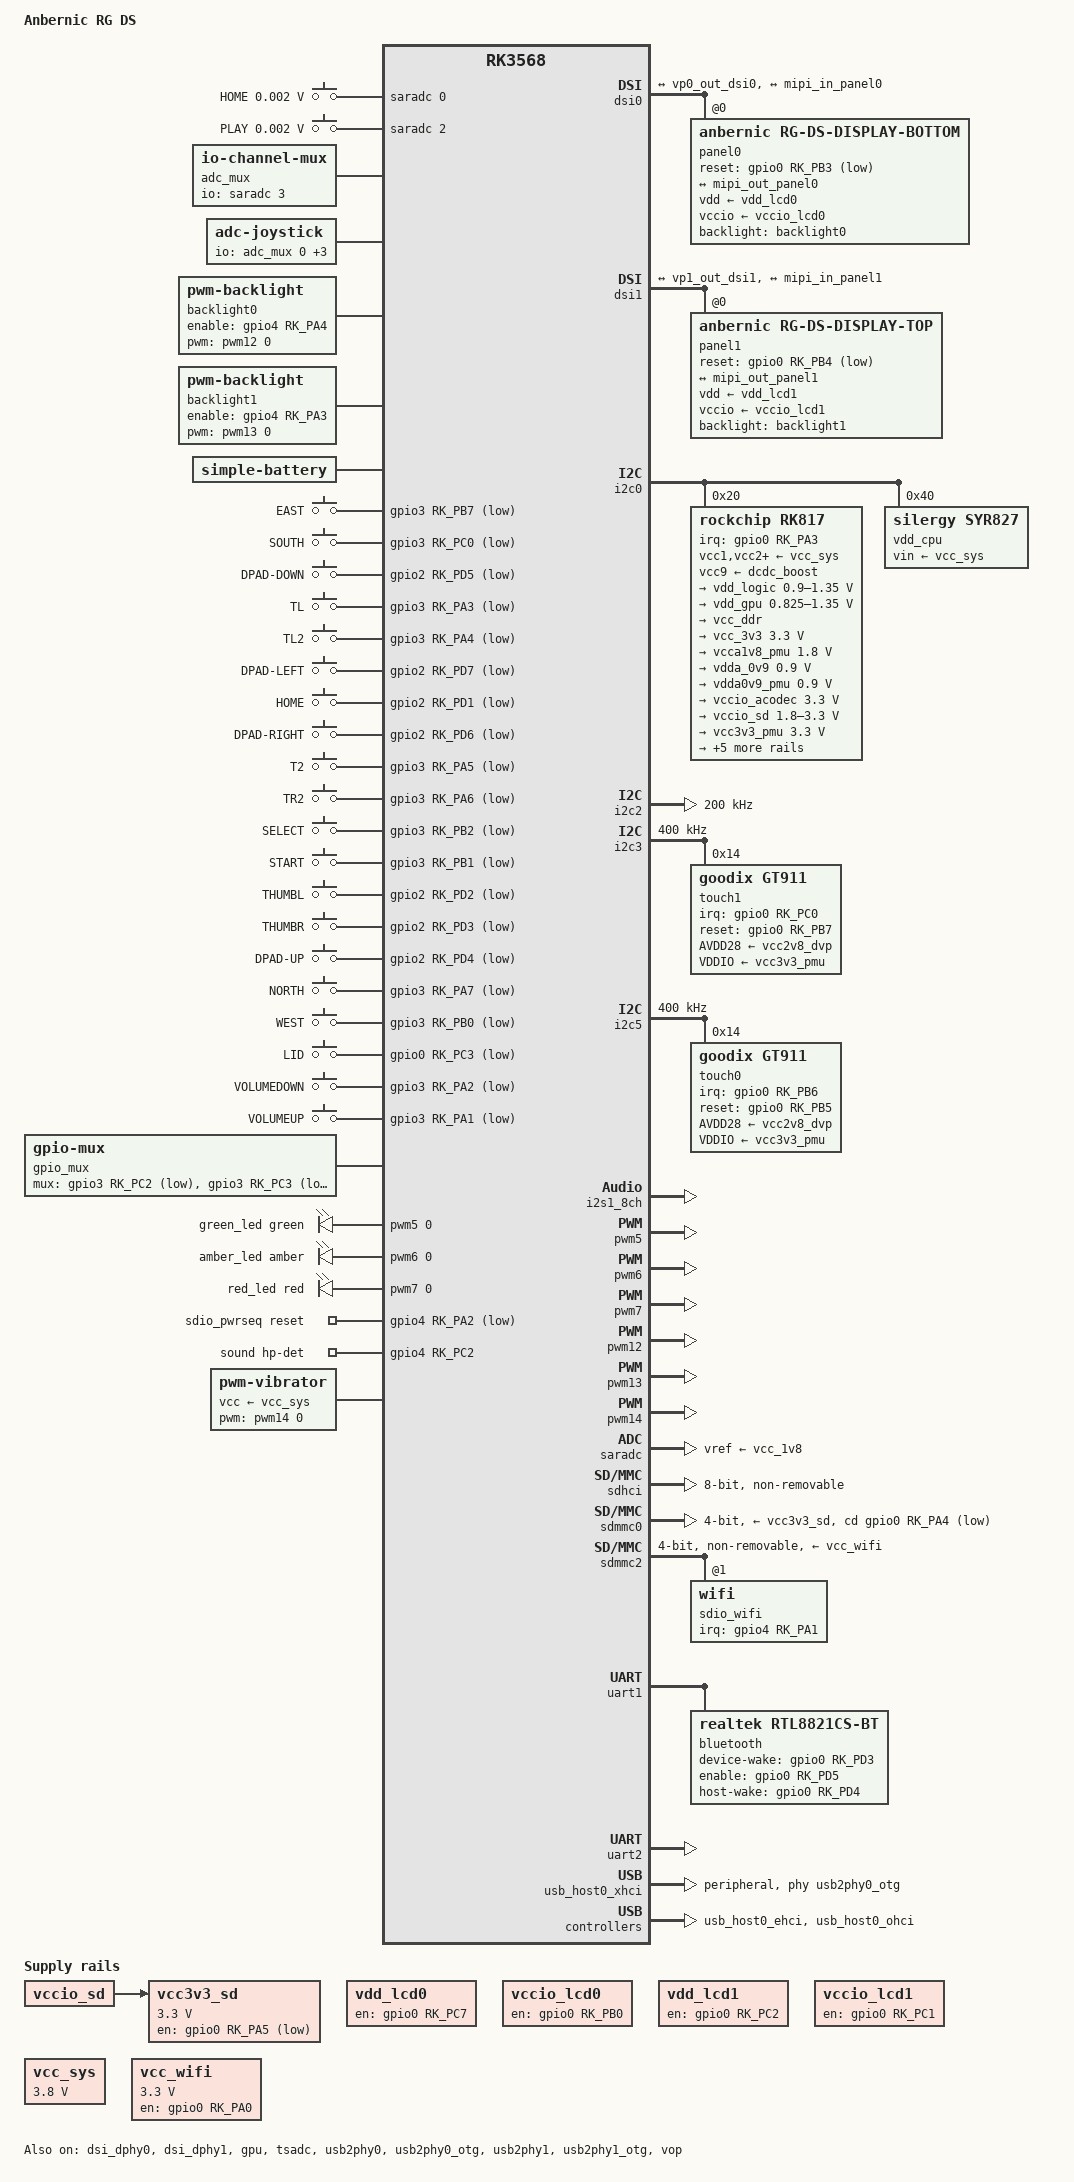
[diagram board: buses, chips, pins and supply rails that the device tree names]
// SPDX-License-Identifier: (GPL-2.0+ OR MIT)

/dts-v1/;

#include <dt-bindings/gpio/gpio.h>
#include <dt-bindings/input/gpio-keys.h>
#include <dt-bindings/input/linux-event-codes.h>
#include <dt-bindings/leds/common.h>
#include <dt-bindings/pinctrl/rockchip.h>
#include <dt-bindings/soc/rockchip,vop2.h>
#include "rk3568.dtsi"

/ {
	model = "Anbernic RG DS";
	chassis-type = "handset";
	compatible = "anbernic,rg-ds", "rockchip,rk3568";

	aliases {
		mmc0 = &sdhci;
		mmc1 = &sdmmc0;
		mmc2 = &sdmmc2;
	};

	chosen: chosen {
		stdout-path = "serial2:1500000n8";
	};

	adc_keys_home: adc-keys-home {
		compatible = "adc-keys";
		io-channel-names = "buttons";
		io-channels = <&saradc 0>;
		keyup-threshold-microvolt = <1800000>;
		poll-interval = <60>;

		button-home {
			label = "HOME";
			linux,code = <BTN_MODE>;
			press-threshold-microvolt = <1750>;
		};
	};

	adc_keys_play: adc-keys-play {
		compatible = "adc-keys";
		io-channel-names = "buttons";
		io-channels = <&saradc 2>;
		keyup-threshold-microvolt = <1300000>;
		poll-interval = <60>;

		button-play {
			label = "PLAY";
			linux,code = <KEY_PLAYPAUSE>;
			press-threshold-microvolt = <1750>;
		};
	};

	adc_mux: adc-mux {
		compatible = "io-channel-mux";
		channels = "left_x", "right_x", "left_y", "right_y";
		#io-channel-cells = <1>;
		io-channels = <&saradc 3>;
		io-channel-names = "parent";
		mux-controls = <&gpio_mux>;
		settle-time-us = <100>;
	};

	adc-joystick {
		compatible = "adc-joystick";
		#address-cells = <1>;
		io-channels = <&adc_mux 0>,
			      <&adc_mux 1>,
			      <&adc_mux 2>,
			      <&adc_mux 3>;
		pinctrl-0 = <&joy_mux_en>;
		pinctrl-names = "default";
		poll-interval = <60>;
		#size-cells = <0>;

		axis@0 {
			reg = <0>;
			abs-flat = <32>;
			abs-fuzz = <32>;
			abs-range = <1023 15>;
			linux,code = <ABS_X>;
		};

		axis@1 {
			reg = <1>;
			abs-flat = <32>;
			abs-fuzz = <32>;
			abs-range = <15 1023>;
			linux,code = <ABS_RY>;
		};

		axis@2 {
			reg = <2>;
			abs-flat = <32>;
			abs-fuzz = <32>;
			abs-range = <15 1023>;
			linux,code = <ABS_Y>;
		};

		axis@3 {
			reg = <3>;
			abs-flat = <32>;
			abs-fuzz = <32>;
			abs-range = <15 1023>;
			linux,code = <ABS_RX>;
		};
	};

	backlight0: backlight0 {
		compatible = "pwm-backlight";
		enable-gpios = <&gpio4 RK_PA4 GPIO_ACTIVE_HIGH>;
		pwms = <&pwm12 0 25000 0>;
	};

	backlight1: backlight1 {
		compatible = "pwm-backlight";
		enable-gpios = <&gpio4 RK_PA3 GPIO_ACTIVE_HIGH>;
		pwms = <&pwm13 0 25000 0>;
	};

	/*
	 * Values taken from BSP device-tree except for
	 * "charge-full-design-microamp-hours" which was set
	 * incorrectly at 2500000 (based on markings on the battery it
	 * should be 4000000), "factory-internal-resistance-micro-ohms"
	 * which was set at 8 but based on context should likely be 80000.
	 *
	 * "constant-charge-current-max-microamp" is set at 10 AMPs
	 * which is likely incorrect but I cannot validate; furthermore
	 * the onboard charger of the rk817 cannot charge past 3.5A
	 * anyway.
	 */
	battery: battery {
		compatible = "simple-battery";
		charge-full-design-microamp-hours = <4000000>;
		charge-term-current-microamp = <300000>;
		constant-charge-current-max-microamp = <10000000>;
		constant-charge-voltage-max-microvolt = <4350000>;
		factory-internal-resistance-micro-ohms = <80000>;
		precharge-current-microamp = <180000>;
		precharge-upper-limit-microvolt = <3600000>;
		voltage-max-design-microvolt = <4350000>;
		voltage-min-design-microvolt = <3000000>;

		/*
		 * BSP device-tree missing value for 5 percent, so I
		 * picked a value between 10 and 0.
		 */
		ocv-capacity-celsius = <20>;
		ocv-capacity-table-0 =  <4338000 100>, <4251000 95>,
					<4191000 90>, <4136000 85>,
					<4083000 80>, <4039000 75>,
					<3978000 70>, <3947000 65>,
					<3908000 60>, <3861000 55>,
					<3826000 50>, <3786000 45>,
					<3772000 40>, <3761000 35>,
					<3749000 30>, <3731000 25>,
					<3707000 20>, <3677000 15>,
					<3663000 10>, <3446000 5>,
					<3400000 0>;
	};

	gpio_keys_control: gpio-keys-control {
		compatible = "gpio-keys";
		pinctrl-0 = <&gamepad_keys_l>;
		pinctrl-names = "default";

		button-a {
			gpios = <&gpio3 RK_PB7 GPIO_ACTIVE_LOW>;
			label = "EAST";
			linux,code = <BTN_EAST>;
		};

		button-b {
			gpios = <&gpio3 RK_PC0 GPIO_ACTIVE_LOW>;
			label = "SOUTH";
			linux,code = <BTN_SOUTH>;
		};

		button-down {
			gpios = <&gpio2 RK_PD5 GPIO_ACTIVE_LOW>;
			label = "DPAD-DOWN";
			linux,code = <BTN_DPAD_DOWN>;
		};

		button-l1 {
			gpios = <&gpio3 RK_PA3 GPIO_ACTIVE_LOW>;
			label = "TL";
			linux,code = <BTN_TL>;
		};

		button-l2 {
			gpios = <&gpio3 RK_PA4 GPIO_ACTIVE_LOW>;
			label = "TL2";
			linux,code = <BTN_TL2>;
		};

		button-left {
			gpios = <&gpio2 RK_PD7 GPIO_ACTIVE_LOW>;
			label = "DPAD-LEFT";
			linux,code = <BTN_DPAD_LEFT>;
		};

		button-menu {
			gpios = <&gpio2 RK_PD1 GPIO_ACTIVE_LOW>;
			label = "HOME";
			linux,code = <KEY_HOME>;
		};

		button-right {
			gpios = <&gpio2 RK_PD6 GPIO_ACTIVE_LOW>;
			label = "DPAD-RIGHT";
			linux,code = <BTN_DPAD_RIGHT>;
		};

		button-r1 {
			gpios = <&gpio3 RK_PA5 GPIO_ACTIVE_LOW>;
			label = "T2";
			linux,code = <BTN_TR>;
		};

		button-r2 {
			gpios = <&gpio3 RK_PA6 GPIO_ACTIVE_LOW>;
			label = "TR2";
			linux,code = <BTN_TR2>;
		};

		button-select {
			gpios = <&gpio3 RK_PB2 GPIO_ACTIVE_LOW>;
			label = "SELECT";
			linux,code = <BTN_SELECT>;
		};

		button-start {
			gpios = <&gpio3 RK_PB1 GPIO_ACTIVE_LOW>;
			label = "START";
			linux,code = <BTN_START>;
		};

		button-thumbl {
			gpios = <&gpio2 RK_PD2 GPIO_ACTIVE_LOW>;
			label = "THUMBL";
			linux,code = <BTN_THUMBL>;
		};

		button-thumbr {
			gpios = <&gpio2 RK_PD3 GPIO_ACTIVE_LOW>;
			label = "THUMBR";
			linux,code = <BTN_THUMBR>;
		};

		button-up {
			gpios = <&gpio2 RK_PD4 GPIO_ACTIVE_LOW>;
			label = "DPAD-UP";
			linux,code = <BTN_DPAD_UP>;
		};

		button-x {
			gpios = <&gpio3 RK_PA7 GPIO_ACTIVE_LOW>;
			label = "NORTH";
			linux,code = <BTN_NORTH>;
		};

		button-y {
			gpios = <&gpio3 RK_PB0 GPIO_ACTIVE_LOW>;
			label = "WEST";
			linux,code = <BTN_WEST>;
		};
	};

	gpio_keys_hall: gpio-keys-hall {
		compatible = "gpio-keys";
		pinctrl-0 = <&hall_int_l>;
		pinctrl-names = "default";

		lid-switch {
			gpios = <&gpio0 RK_PC3 GPIO_ACTIVE_LOW>;
			label = "LID";
			linux,code = <SW_LID>;
			linux,input-type = <EV_SW>;
			wakeup-event-action = <EV_ACT_DEASSERTED>;
			wakeup-source;
		};
	};

	gpio_keys_volume: gpio-keys-volume {
		compatible = "gpio-keys";
		autorepeat;
		pinctrl-0 = <&vol_keys_l>;
		pinctrl-names = "default";

		vol-down-key {
			gpios = <&gpio3 RK_PA2 GPIO_ACTIVE_LOW>;
			label = "VOLUMEDOWN";
			linux,code = <KEY_VOLUMEDOWN>;
		};

		vol-up-key {
			gpios = <&gpio3 RK_PA1 GPIO_ACTIVE_LOW>;
			label = "VOLUMEUP";
			linux,code = <KEY_VOLUMEUP>;
		};
	};

	gpio_mux: mux-controller {
		compatible = "gpio-mux";
		#mux-control-cells = <0>;
		mux-gpios = <&gpio3 RK_PC2 GPIO_ACTIVE_LOW>,
			    <&gpio3 RK_PC3 GPIO_ACTIVE_LOW>;
		pinctrl-0 = <&joy_mux_config>;
		pinctrl-names = "default";
	};

	leds: pwm-leds {
		compatible = "pwm-leds";

		green_led: led-0 {
			color = <LED_COLOR_ID_GREEN>;
			default-state = "on";
			function = LED_FUNCTION_POWER;
			max-brightness = <255>;
			pwms = <&pwm5 0 25000 0>;
		};

		amber_led: led-1 {
			color = <LED_COLOR_ID_AMBER>;
			function = LED_FUNCTION_CHARGING;
			max-brightness = <255>;
			pwms = <&pwm6 0 25000 0>;
		};

		red_led: led-2 {
			color = <LED_COLOR_ID_RED>;
			default-state = "off";
			function = LED_FUNCTION_STATUS;
			max-brightness = <255>;
			pwms = <&pwm7 0 25000 0>;
		};
	};

	sdio_pwrseq: sdio-pwrseq {
		compatible = "mmc-pwrseq-simple";
		clock-names = "ext_clock";
		clocks = <&rk817 1>;
		pinctrl-0 = <&wifi_enable_h>;
		pinctrl-names = "default";
		post-power-on-delay-ms = <200>;
		reset-gpios = <&gpio4 RK_PA2 GPIO_ACTIVE_LOW>;
	};

	sound {
		compatible = "simple-audio-card";
		pinctrl-0 = <&hp_det>;
		pinctrl-names = "default";
		simple-audio-card,format = "i2s";
		simple-audio-card,hp-det-gpios = <&gpio4 RK_PC2 GPIO_ACTIVE_HIGH>;
		simple-audio-card,mclk-fs = <256>;
		simple-audio-card,name = "rk817_ext";
		simple-audio-card,pin-switches = "Internal Speakers";
		simple-audio-card,routing =
			"MICL", "Mic Jack",
			"Headphones", "HPOL",
			"Headphones", "HPOR",
			"Internal Speakers", "HPOL",
			"Internal Speakers", "HPOR";
		simple-audio-card,widgets =
			"Microphone", "Mic Jack",
			"Headphone", "Headphones",
			"Speaker", "Internal Speakers";

		simple-audio-card,codec {
			sound-dai = <&rk817>;
		};

		simple-audio-card,cpu {
			sound-dai = <&i2s1_8ch>;
		};
	};

	vdd_lcd0: regulator-vdd-lcd0 {
		compatible = "regulator-fixed";
		enable-active-high;
		gpio = <&gpio0 RK_PC7 GPIO_ACTIVE_HIGH>;
		pinctrl-0 = <&vdd_lcd0_h>;
		pinctrl-names = "default";
		regulator-name = "vdd_lcd0";
		regulator-state-mem {
			regulator-off-in-suspend;
		};
	};

	vccio_lcd0: regulator-vccio-lcd0 {
		compatible = "regulator-fixed";
		enable-active-high;
		gpio = <&gpio0 RK_PB0 GPIO_ACTIVE_HIGH>;
		pinctrl-0 = <&vccio_lcd0_h>;
		pinctrl-names = "default";
		regulator-name = "vccio_lcd0";
		regulator-state-mem {
			regulator-off-in-suspend;
		};
	};

	vdd_lcd1: regulator-vdd-lcd1 {
		compatible = "regulator-fixed";
		enable-active-high;
		gpio = <&gpio0 RK_PC2 GPIO_ACTIVE_HIGH>;
		pinctrl-0 = <&vdd_lcd1_h>;
		pinctrl-names = "default";
		regulator-name = "vdd_lcd1";
		regulator-state-mem {
			regulator-off-in-suspend;
		};
	};

	vccio_lcd1: regulator-vccio-lcd1 {
		compatible = "regulator-fixed";
		enable-active-high;
		gpio = <&gpio0 RK_PC1 GPIO_ACTIVE_HIGH>;
		pinctrl-0 = <&vccio_lcd1_h>;
		pinctrl-names = "default";
		regulator-name = "vccio_lcd1";
		regulator-state-mem {
			regulator-off-in-suspend;
		};
	};

	vcc3v3_sd: regulator-vcc3v3-sd {
		compatible = "regulator-fixed";
		gpio = <&gpio0 RK_PA5 GPIO_ACTIVE_HIGH>;
		pinctrl-0 = <&sdmmc_pwren_l>;
		pinctrl-names = "default";
		regulator-always-on;
		regulator-boot-on;
		regulator-name = "vcc3v3_sd";
		regulator-min-microvolt = <3300000>;
		regulator-max-microvolt = <3300000>;
		vin-supply = <&vccio_sd>;
	};

	vcc_sys: regulator-vcc-sys {
		compatible = "regulator-fixed";
		regulator-always-on;
		regulator-boot-on;
		regulator-min-microvolt = <3800000>;
		regulator-max-microvolt = <3800000>;
		regulator-name = "vcc_sys";
	};

	vibrator: pwm-vibrator {
		compatible = "pwm-vibrator";
		pwm-names = "enable";
		pwms = <&pwm14 0 100000 0>;
		vcc-supply = <&vcc_sys>;
	};

	vcc_wifi: regulator-vcc-wifi {
		compatible = "regulator-fixed";
		enable-active-high;
		gpio = <&gpio0 RK_PA0 GPIO_ACTIVE_HIGH>;
		pinctrl-0 = <&vcc_wifi_h>;
		pinctrl-names = "default";
		regulator-always-on;
		regulator-boot-on;
		regulator-min-microvolt = <3300000>;
		regulator-max-microvolt = <3300000>;
		regulator-name = "vcc_wifi";
	};
};

&cpu0 {
	cpu-supply = <&vdd_cpu>;
};

&cpu1 {
	cpu-supply = <&vdd_cpu>;
};

&cpu2 {
	cpu-supply = <&vdd_cpu>;
};

&cpu3 {
	cpu-supply = <&vdd_cpu>;
};

&cru {
	assigned-clocks = <&pmucru CLK_RTC_32K>, <&cru PLL_GPLL>,
			  <&pmucru PLL_PPLL>, <&cru PLL_VPLL>;
	assigned-clock-rates = <32768>, <1200000000>,
			       <200000000>, <292500000>;
};

&dsi0 {
	status = "okay";
	#address-cells = <1>;
	#size-cells = <0>;

	ports {
		dsi0_in: port@0 {
			reg = <0>;
			dsi0_in_vp0: endpoint {
				remote-endpoint = <&vp0_out_dsi0>;
			};
		};

		dsi0_out: port@1 {
			reg = <1>;
			mipi_out_panel0: endpoint {
				remote-endpoint = <&mipi_in_panel0>;
			};
		};
	};

	panel0: panel@0 {
		compatible = "anbernic,rg-ds-display-bottom", "jadard,jd9365da-h3";
		reg = <0>;
		backlight = <&backlight0>;
		pinctrl-0 = <&lcd0_rst>;
		pinctrl-names = "default";
		reset-gpios = <&gpio0 RK_PB3 GPIO_ACTIVE_LOW>;
		vdd-supply = <&vdd_lcd0>;
		vccio-supply = <&vccio_lcd0>;

		port {
			mipi_in_panel0: endpoint {
				remote-endpoint = <&mipi_out_panel0>;
			};
		};
	};
};

&dsi1 {
	status = "okay";
	#address-cells = <1>;
	#size-cells = <0>;

	ports {
		dsi1_in: port@0 {
			reg = <0>;
			dsi1_in_vp1: endpoint {
				remote-endpoint = <&vp1_out_dsi1>;
			};
		};

		dsi1_out: port@1 {
			reg = <1>;
			mipi_out_panel1: endpoint {
				remote-endpoint = <&mipi_in_panel1>;
			};
		};
	};

	panel1: panel@0 {
		compatible = "anbernic,rg-ds-display-top", "jadard,jd9365da-h3";
		reg = <0>;
		backlight = <&backlight1>;
		pinctrl-0 = <&lcd1_rst>;
		pinctrl-names = "default";
		reset-gpios = <&gpio0 RK_PB4 GPIO_ACTIVE_LOW>;
		vdd-supply = <&vdd_lcd1>;
		vccio-supply = <&vccio_lcd1>;

		port {
			mipi_in_panel1: endpoint {
				remote-endpoint = <&mipi_out_panel1>;
			};
		};
	};
};

&dsi_dphy0 {
	status = "okay";
};

&dsi_dphy1 {
	status = "okay";
};

&gpu {
	mali-supply = <&vdd_gpu>;
	status = "okay";
};

&i2c0 {
	status = "okay";

	rk817: pmic@20 {
		compatible = "rockchip,rk817";
		reg = <0x20>;
		assigned-clock-parents = <&cru CLK_I2S1_8CH_TX>;
		assigned-clocks = <&cru I2S1_MCLKOUT_TX>;
		#clock-cells = <1>;
		clock-names = "mclk";
		clock-output-names = "rk808-clkout1", "rk808-clkout2";
		clocks = <&cru I2S1_MCLKOUT_TX>;
		interrupt-parent = <&gpio0>;
		interrupts = <RK_PA3 IRQ_TYPE_LEVEL_LOW>;
		pinctrl-0 = <&i2s1m0_mclk &pmic_int_l>;
		pinctrl-names = "default";
		#sound-dai-cells = <0>;
		system-power-controller;
		wakeup-source;

		vcc1-supply = <&vcc_sys>;
		vcc2-supply = <&vcc_sys>;
		vcc3-supply = <&vcc_sys>;
		vcc4-supply = <&vcc_sys>;
		vcc5-supply = <&vcc_sys>;
		vcc6-supply = <&vcc_sys>;
		vcc7-supply = <&vcc_sys>;
		vcc8-supply = <&vcc_sys>;
		vcc9-supply = <&dcdc_boost>;

		regulators {
			vdd_logic: DCDC_REG1 {
				regulator-always-on;
				regulator-boot-on;
				regulator-initial-mode = <0x2>;
				regulator-max-microvolt = <1350000>;
				regulator-min-microvolt = <900000>;
				regulator-name = "vdd_logic";
				regulator-ramp-delay = <6001>;
				regulator-state-mem {
					regulator-on-in-suspend;
					regulator-suspend-microvolt = <900000>;
				};
			};

			vdd_gpu: DCDC_REG2 {
				regulator-always-on;
				regulator-boot-on;
				regulator-initial-mode = <0x2>;
				regulator-max-microvolt = <1350000>;
				regulator-min-microvolt = <825000>;
				regulator-name = "vdd_gpu";
				regulator-ramp-delay = <6001>;
				regulator-state-mem {
					regulator-off-in-suspend;
				};
			};

			vcc_ddr: DCDC_REG3 {
				regulator-always-on;
				regulator-boot-on;
				regulator-initial-mode = <0x2>;
				regulator-name = "vcc_ddr";
				regulator-state-mem {
					regulator-on-in-suspend;
				};
			};

			vcc_3v3: DCDC_REG4 {
				regulator-always-on;
				regulator-boot-on;
				regulator-initial-mode = <0x2>;
				regulator-max-microvolt = <3300000>;
				regulator-min-microvolt = <3300000>;
				regulator-name = "vcc_3v3";
				regulator-state-mem {
					regulator-on-in-suspend;
					regulator-suspend-microvolt = <3300000>;
				};
			};

			vcca1v8_pmu: LDO_REG1 {
				regulator-always-on;
				regulator-boot-on;
				regulator-max-microvolt = <1800000>;
				regulator-min-microvolt = <1800000>;
				regulator-name = "vcca1v8_pmu";
				regulator-state-mem {
					regulator-on-in-suspend;
					regulator-suspend-microvolt = <1800000>;
				};
			};

			vdda_0v9: LDO_REG2 {
				regulator-always-on;
				regulator-boot-on;
				regulator-max-microvolt = <900000>;
				regulator-min-microvolt = <900000>;
				regulator-name = "vdda_0v9";
				regulator-state-mem {
					regulator-off-in-suspend;
				};
			};

			vdda0v9_pmu: LDO_REG3 {
				regulator-always-on;
				regulator-boot-on;
				regulator-max-microvolt = <900000>;
				regulator-min-microvolt = <900000>;
				regulator-name = "vdda0v9_pmu";
				regulator-state-mem {
					regulator-on-in-suspend;
					regulator-suspend-microvolt = <900000>;
				};
			};

			vccio_acodec: LDO_REG4 {
				regulator-always-on;
				regulator-boot-on;
				regulator-max-microvolt = <3300000>;
				regulator-min-microvolt = <3300000>;
				regulator-name = "vccio_acodec";
				regulator-state-mem {
					regulator-off-in-suspend;
				};
			};

			vccio_sd: LDO_REG5 {
				regulator-always-on;
				regulator-boot-on;
				regulator-max-microvolt = <3300000>;
				regulator-min-microvolt = <1800000>;
				regulator-name = "vccio_sd";
				regulator-state-mem {
					regulator-off-in-suspend;
				};
			};

			vcc3v3_pmu: LDO_REG6 {
				regulator-always-on;
				regulator-boot-on;
				regulator-max-microvolt = <3300000>;
				regulator-min-microvolt = <3300000>;
				regulator-name = "vcc3v3_pmu";
				regulator-state-mem {
					regulator-on-in-suspend;
					regulator-suspend-microvolt = <3300000>;
				};
			};

			vcc_1v8: LDO_REG7 {
				regulator-always-on;
				regulator-boot-on;
				regulator-max-microvolt = <1800000>;
				regulator-min-microvolt = <1800000>;
				regulator-name = "vcc_1v8";
				regulator-state-mem {
					regulator-on-in-suspend;
				};
			};

			vcc1v8_dvp: LDO_REG8 {
				regulator-always-on;
				regulator-boot-on;
				regulator-max-microvolt = <3300000>;
				regulator-min-microvolt = <1800000>;
				regulator-name = "vcc1v8_dvp";
				regulator-state-mem {
					regulator-off-in-suspend;
				};
			};

			vcc2v8_dvp: LDO_REG9 {
				regulator-always-on;
				regulator-boot-on;
				regulator-max-microvolt = <2800000>;
				regulator-min-microvolt = <2800000>;
				regulator-name = "vcc2v8_dvp";
				regulator-state-mem {
					regulator-off-in-suspend;
				};
			};

			dcdc_boost: BOOST {
				regulator-always-on;
				regulator-boot-on;
				regulator-max-microvolt = <5400000>;
				regulator-min-microvolt = <4700000>;
				regulator-name = "boost";
				regulator-state-mem {
					regulator-off-in-suspend;
				};
			};

			otg_switch: OTG_SWITCH {
				regulator-name = "otg_switch";
				regulator-state-mem {
					regulator-off-in-suspend;
				};
			};
		};

	       rk817_charger: charger {
			monitored-battery = <&battery>;
			rockchip,resistor-sense-micro-ohms = <10000>;
			rockchip,sleep-enter-current-microamp = <150000>;
			rockchip,sleep-filter-current-microamp = <100000>;
		};
	};

	vdd_cpu: regulator@40 {
		compatible = "silergy,syr827";
		reg = <0x40>;
		fcs,suspend-voltage-selector = <1>;
		regulator-always-on;
		regulator-boot-on;
		regulator-max-microvolt = <1390000>;
		regulator-min-microvolt = <712500>;
		regulator-name = "vdd_cpu";
		regulator-ramp-delay = <2300>;
		vin-supply = <&vcc_sys>;
		regulator-state-mem {
			regulator-off-in-suspend;
		};
	};

	/*
	 * Currently the rk817_charger and the cw2015 don't work together.
	 * Disable the cw2015 for now because it performs the same function
	 * as the rk817_charger for battery monitoring.
	 */
	cw2015: battery@62 {
		compatible = "cellwise,cw2015";
		reg = <0x62>;
		cellwise,battery-profile = /bits/ 8
				< 0x17 0x67 0x81 0x6F 0x69 0x65 0x63 0x54
				 0x75 0x50 0x57 0x56 0x4E 0x4F 0x44 0x35
				 0x2C 0x24 0x1E 0x1B 0x24 0x32 0x41 0x4D
				 0x1C 0x57 0x0B 0x85 0x34 0x54 0x59 0x6D
				 0x85 0x81 0x81 0x84 0x3C 0x1B 0x6C 0x6C
				 0x0B 0x41 0x1C 0x4D 0x80 0x95 0xA0 0x14
				 0x38 0x7E 0x98 0xA3 0x80 0x89 0x97 0xCB
				 0x2F 0x00 0x64 0xA5 0xB5 0xC1 0x46 0xAE>;
		cellwise,monitor-interval-ms = <5000>;
		monitored-battery = <&battery>;
		power-supplies = <&rk817_charger>;
		status = "disabled";
	};
};

&i2c2 {
	clock-frequency = <200000>;
	pinctrl-0 = <&i2c2m1_xfer>;
	pinctrl-names = "default";
	status = "okay";

	/* awinic,aw87391 at 0x58 */
	/* awinic,aw87391 at 0x5b */
	/* invensense,icm42607p at 0x68 */
};

&i2c3 {
	clock-frequency = <400000>;
	pinctrl-0 = <&i2c3m1_xfer>;
	pinctrl-names = "default";
	status = "okay";

	touch1: touchscreen@14 {
		compatible = "goodix,gt911";
		reg = <0x14>;
		AVDD28-supply = <&vcc2v8_dvp>;
		interrupt-parent = <&gpio0>;
		interrupts = <RK_PC0 IRQ_TYPE_LEVEL_LOW>;
		irq-gpios = <&gpio0 RK_PC0 GPIO_ACTIVE_HIGH>;
		panel = <&panel1>;
		reset-gpios = <&gpio0 RK_PB7 GPIO_ACTIVE_HIGH>;
		touchscreen-size-x = <640>;
		touchscreen-size-y = <480>;
		touchscreen-inverted-x;
		touchscreen-inverted-y;
		pinctrl-0 = <&touch1_rst &touch1_irq>;
		pinctrl-names = "default";
		VDDIO-supply = <&vcc3v3_pmu>;
	};
};

&i2c5 {
	clock-frequency = <400000>;
	pinctrl-0 = <&i2c5m0_xfer>;
	pinctrl-names = "default";
	status = "okay";

	touch0: touchscreen@14 {
		compatible = "goodix,gt911";
		reg = <0x14>;
		AVDD28-supply = <&vcc2v8_dvp>;
		interrupt-parent = <&gpio0>;
		interrupts = <RK_PB6 IRQ_TYPE_LEVEL_LOW>;
		irq-gpios = <&gpio0 RK_PB6 GPIO_ACTIVE_HIGH>;
		panel = <&panel0>;
		reset-gpios = <&gpio0 RK_PB5 GPIO_ACTIVE_HIGH>;
		touchscreen-size-x = <640>;
		touchscreen-size-y = <480>;
		pinctrl-0 = <&touch0_rst &touch0_irq>;
		pinctrl-names = "default";
		VDDIO-supply = <&vcc3v3_pmu>;
	};

	/* Unused iSmartWare SW2001 encryption device at 0x3c */
};

&i2s1_8ch {
	pinctrl-0 = <&i2s1m0_sclktx &i2s1m0_lrcktx &i2s1m0_sdi0 &i2s1m0_sdo0>;
	pinctrl-names = "default";
	rockchip,trcm-sync-tx-only;
	status = "okay";
};

&pinctrl {
	gpio-keys {
		vol_keys_l: vol-keys_l {
			rockchip,pins =
				<3 RK_PA1 RK_FUNC_GPIO &pcfg_pull_up>,
				<3 RK_PA2 RK_FUNC_GPIO &pcfg_pull_up>;
		};

		gamepad_keys_l: gamepad-keys-l {
			rockchip,pins =
				<2 RK_PD1 RK_FUNC_GPIO &pcfg_pull_up>,
				<2 RK_PD2 RK_FUNC_GPIO &pcfg_pull_up>,
				<2 RK_PD3 RK_FUNC_GPIO &pcfg_pull_up>,
				<2 RK_PD4 RK_FUNC_GPIO &pcfg_pull_up>,
				<2 RK_PD5 RK_FUNC_GPIO &pcfg_pull_up>,
				<2 RK_PD6 RK_FUNC_GPIO &pcfg_pull_up>,
				<2 RK_PD7 RK_FUNC_GPIO &pcfg_pull_up>,
				<3 RK_PA3 RK_FUNC_GPIO &pcfg_pull_up>,
				<3 RK_PA4 RK_FUNC_GPIO &pcfg_pull_up>,
				<3 RK_PA5 RK_FUNC_GPIO &pcfg_pull_up>,
				<3 RK_PA6 RK_FUNC_GPIO &pcfg_pull_up>,
				<3 RK_PA7 RK_FUNC_GPIO &pcfg_pull_up>,
				<3 RK_PB0 RK_FUNC_GPIO &pcfg_pull_up>,
				<3 RK_PB1 RK_FUNC_GPIO &pcfg_pull_up>,
				<3 RK_PB2 RK_FUNC_GPIO &pcfg_pull_up>,
				<3 RK_PB7 RK_FUNC_GPIO &pcfg_pull_up>,
				<3 RK_PC0 RK_FUNC_GPIO &pcfg_pull_up>;
		};
	};

	gpio-lcd {
		lcd0_rst: lcd0-rst {
			rockchip,pins =
				<0 RK_PB3 RK_FUNC_GPIO &pcfg_pull_none>;
		};

		lcd1_rst: lcd1-rst {
			rockchip,pins =
				<0 RK_PB4 RK_FUNC_GPIO &pcfg_pull_none>;
		};
	};

	hall-sensor {
		hall_int_l: hal-int-l {
			rockchip,pins =
				<0 RK_PC3 RK_FUNC_GPIO &pcfg_pull_none>;
		};
	};

	hp-detect {
		hp_det: hp-det {
			rockchip,pins =
				<4 RK_PC2 RK_FUNC_GPIO &pcfg_pull_none>;
		};
	};

	joy-mux {
		joy_mux_en: joy-mux-en {
			rockchip,pins =
				<3 RK_PC1 RK_FUNC_GPIO &pcfg_output_low>;
		};

		joy_mux_config: joy-mux-config {
			rockchip,pins =
				<3 RK_PC2 RK_FUNC_GPIO &pcfg_pull_none>,
				<3 RK_PC3 RK_FUNC_GPIO &pcfg_pull_none>;
		};
	};

	pmic {
		pmic_int_l: pmic-int-l {
			rockchip,pins =
				<0 RK_PA3 RK_FUNC_GPIO &pcfg_pull_up>;
		};
	};

	sdio-pwrseq {
		wifi_enable_h: wifi-enable-h {
			rockchip,pins =
				<4 RK_PA2 RK_FUNC_GPIO &pcfg_pull_none>;
		};
	};

	sdmmc {
		sdmmc_pwren_l: sdmmc-pwren-l {
			rockchip,pins =
				<0 RK_PA5 RK_FUNC_GPIO &pcfg_pull_none>;
		};
	};

	touch {
		touch0_rst: touch0-rst {
			rockchip,pins =
				<0 RK_PB5 RK_FUNC_GPIO &pcfg_pull_up>;
		};

		touch0_irq: touch0-irq {
			rockchip,pins =
				<0 RK_PB6 RK_FUNC_GPIO &pcfg_pull_up>;
		};

		touch1_rst: touch1-rst {
			rockchip,pins =
				<0 RK_PB7 RK_FUNC_GPIO &pcfg_pull_up>;
		};

		touch1_irq: touch1-irq {
			rockchip,pins =
				<0 RK_PC0 RK_FUNC_GPIO &pcfg_pull_up>;
		};
	};

	vcc-lcd {
		vdd_lcd0_h: vdd-lcd0-h {
			rockchip,pins =
				<0 RK_PC7 RK_FUNC_GPIO &pcfg_pull_none>;
		};

		vccio_lcd0_h: vccio-lcd0-h {
			rockchip,pins =
				<0 RK_PB0 RK_FUNC_GPIO &pcfg_pull_none>;
		};

		vdd_lcd1_h: vdd-lcd1-h {
			rockchip,pins =
				<0 RK_PC2 RK_FUNC_GPIO &pcfg_pull_none>;
		};

		vccio_lcd1_h: vccio-lcd1-h {
			rockchip,pins =
				<0 RK_PC1 RK_FUNC_GPIO &pcfg_pull_none>;
		};
	};

	vcc-wifi {
		vcc_wifi_h: vcc-wifi-h {
			rockchip,pins =
				<0 RK_PA0 RK_FUNC_GPIO &pcfg_pull_none>;
		};
	};

	wifi-irq {
		wifi_host_wake_irq: wifi-host-wake-irq {
			rockchip,pins =
				<4 RK_PA1 RK_FUNC_GPIO &pcfg_pull_down>;
		};
	};
};

&pmu_io_domains {
	status = "okay";
	pmuio1-supply = <&vcc3v3_pmu>;
	pmuio2-supply = <&vcc3v3_pmu>;
	vccio1-supply = <&vccio_acodec>;
	vccio3-supply = <&vccio_sd>;
	vccio4-supply = <&vcc_3v3>;
	vccio5-supply = <&vcc_3v3>;
	vccio6-supply = <&vcc_1v8>;
	vccio7-supply = <&vcc_3v3>;
};

&pwm5 {
	pinctrl-0 = <&pwm5_pins>;
	pinctrl-names = "default";
	status = "okay";
};

&pwm6 {
	pinctrl-0 = <&pwm6_pins>;
	pinctrl-names = "default";
	status = "okay";
};

&pwm7 {
	pinctrl-0 = <&pwm7_pins>;
	pinctrl-names = "default";
	status = "okay";
};

&pwm12 {
	pinctrl-0 = <&pwm12m1_pins>;
	pinctrl-names = "default";
	status = "okay";
};

&pwm13 {
	pinctrl-0 = <&pwm13m1_pins>;
	pinctrl-names = "default";
	status = "okay";
};

&pwm14 {
	pinctrl-0 = <&pwm14m0_pins>;
	pinctrl-names = "default";
	status = "okay";
};

&saradc {
	vref-supply = <&vcc_1v8>;
	status = "okay";
};

&sdhci {
	bus-width = <8>;
	max-frequency = <200000000>;
	no-sd;
	no-sdio;
	non-removable;
	pinctrl-0 = <&emmc_bus8 &emmc_clk &emmc_cmd &emmc_datastrobe &emmc_rstnout>;
	pinctrl-names = "default";
	status = "okay";
};

&sdmmc0 {
	bus-width = <4>;
	cap-sd-highspeed;
	cd-gpios = <&gpio0 RK_PA4 GPIO_ACTIVE_LOW>;
	disable-wp;
	pinctrl-0 = <&sdmmc0_bus4 &sdmmc0_clk &sdmmc0_cmd &sdmmc0_det>;
	pinctrl-names = "default";
	sd-uhs-sdr104;
	vmmc-supply = <&vcc3v3_sd>;
	vqmmc-supply = <&vccio_sd>;
	status = "okay";
};

&sdmmc2 {
	#address-cells = <1>;
	bus-width = <4>;
	cap-sd-highspeed;
	cap-sdio-irq;
	keep-power-in-suspend;
	max-frequency = <100000000>;
	mmc-pwrseq = <&sdio_pwrseq>;
	non-removable;
	pinctrl-0 = <&sdmmc2m0_bus4 &sdmmc2m0_clk &sdmmc2m0_cmd>;
	pinctrl-names = "default";
	sd-uhs-sdr104;
	#size-cells = <0>;
	vmmc-supply = <&vcc_wifi>;
	status = "okay";

	sdio_wifi: wifi@1 {
		reg = <1>;
		interrupt-parent = <&gpio4>;
		interrupts = <RK_PA1 IRQ_TYPE_LEVEL_LOW>;
		interrupt-names = "host-wake";
		pinctrl-0 = <&wifi_host_wake_irq>;
		pinctrl-names = "default";
	};
};

&tsadc {
	rockchip,hw-tshut-mode = <0>;
	rockchip,hw-tshut-polarity = <0>;
	status = "okay";
};

&uart1 {
	pinctrl-0 = <&uart1m1_xfer &uart1m1_ctsn &uart1m1_rtsn>;
	pinctrl-names = "default";
	uart-has-rtscts;
	status = "okay";

	bluetooth {
		compatible = "realtek,rtl8821cs-bt", "realtek,rtl8723bs-bt";
		device-wake-gpios = <&gpio0 RK_PD3 GPIO_ACTIVE_HIGH>;
		enable-gpios = <&gpio0 RK_PD5 GPIO_ACTIVE_HIGH>;
		host-wake-gpios = <&gpio0 RK_PD4 GPIO_ACTIVE_HIGH>;
	};
};

/* No DMA for a debug serial console. */
&uart2 {
	/delete-property/ dmas;
	status = "okay";
};

&usb_host0_xhci {
	dr_mode = "peripheral";
	phy-names = "usb2-phy";
	phys = <&usb2phy0_otg>;
	maximum-speed = "high-speed";
	status = "okay";
};

&usb_host0_ehci {
	status = "okay";
};

&usb_host0_ohci {
	status = "okay";
};

&usb2phy0 {
	status = "okay";
};

&usb2phy0_otg {
	status = "okay";
};

&usb2phy1 {
	status = "okay";
};

&usb2phy1_otg {
	status = "okay";
};

&vop {
	assigned-clocks = <&cru DCLK_VOP0>, <&cru DCLK_VOP1>;
	assigned-clock-parents = <&cru PLL_VPLL>, <&cru PLL_VPLL>;
	status = "okay";
};

&vop_mmu {
	status = "okay";
};

&vp0 {
	vp0_out_dsi0: endpoint@ROCKCHIP_VOP2_EP_MIPI0 {
		reg = <ROCKCHIP_VOP2_EP_MIPI0>;
		remote-endpoint = <&dsi0_in_vp0>;
	};
};

&vp1 {
	vp1_out_dsi1: endpoint@ROCKCHIP_VOP2_EP_MIPI1 {
		reg = <ROCKCHIP_VOP2_EP_MIPI1>;
		remote-endpoint = <&dsi1_in_vp1>;
	};
};
